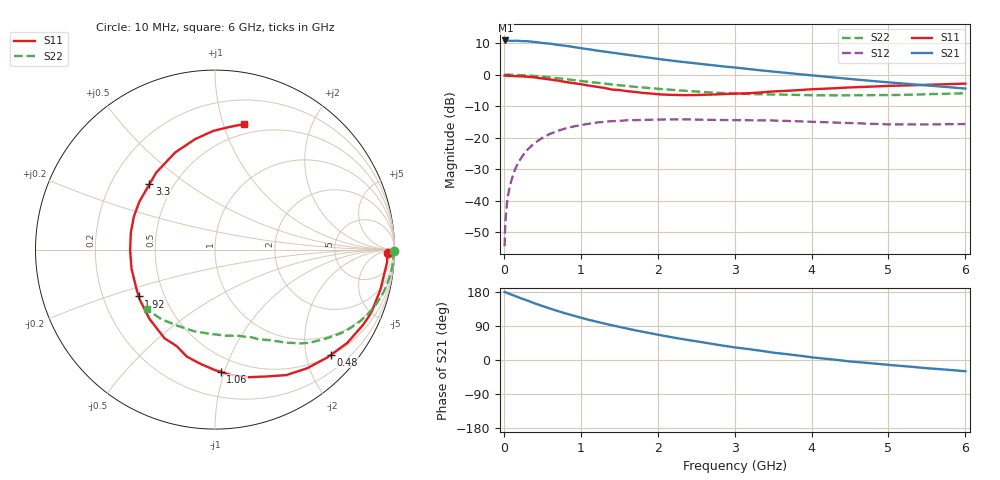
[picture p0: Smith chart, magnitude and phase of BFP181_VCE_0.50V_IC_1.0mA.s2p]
! (c) 2016  Infineon Technologies AG, Munich
! Infineon Technologies  Discrete & RF Semiconductors
! BFP181
! VCE = 0.50V,  IC =  1.0 mA
! Common Emitter S-Parameters:  Jan 2016
# GHz  S  MA  R  50
!  f  S11  S21  S12  S22
! GHz  MAG  ANG  MAG  ANG  MAG  ANG  MAG  ANG
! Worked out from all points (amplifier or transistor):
!   210 points, 10 MHz to 6 GHz, reference 50 ohm
!   highest |S21| = 10.8 dB at 20 MHz (marker M1)
!   |S21| within 3 dB of that: start of sweep to 1.158 GHz
!   unconditionally stable (mu >= 1): 2.64 GHz to end of sweep
!   at 185 MHz: K = 0.09, MSG = 19.4 dB, |S12| = -28.1 dB
!   at 1.52 GHz: K = 0.61, MSG = 10.6 dB, |S12| = -14.6 dB
!   at 6 GHz: K = 1.53, MAG = 1.3 dB, |S12| = -15.7 dB
!   S11 on the Smith chart (normalised r, x): 10 MHz: 42, -21; 480 MHz: 0.51, -2.51; 1.06 GHz: 0.38, -0.97; 1.92 GHz: 0.36, -0.25; 3.3 GHz: 0.37, +0.36; 6 GHz: 0.41, +1.18
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0.01  0.9622 -1.1  3.449 179.5  0.0019 87.5  0.9974 -0.4
0.02  0.9611 -1.7  3.473 179.1  0.0045 85.4  0.9982 -0.9
0.035  0.9608 -3.0  3.464 177.7  0.0078 87.0  0.9966 -1.6
0.06  0.9585 -5.3  3.447 175.4  0.0131 86.5  0.9948 -2.9
0.15  0.9484 -13.5  3.445 168.5  0.0321 80.5  0.9891 -7.0
0.3  0.9256 -26.9  3.382 157.5  0.0627 72.1  0.9699 -13.9
0.4  0.902 -35.2  3.286 149.5  0.0819 66.4  0.9503 -18.3
0.48  0.8728 -42.1  3.187 143.8  0.0954 61.7  0.9315 -21.6
0.6  0.8369 -52.2  3.099 135.7  0.1148 55.7  0.9022 -26.2
0.8  0.7626 -68.0  2.875 123.0  0.1398 46.5  0.8485 -32.9
1.02  0.6963 -84.3  2.595 110.7  0.1596 37.3  0.7854 -39.4
1.06  0.6821 -87.3  2.559 108.4  0.1625 35.9  0.775 -40.4
1.3  0.6162 -104.8  2.321 96.5  0.178 27.7  0.721 -46.2
1.5  0.5685 -119.7  2.159 87.1  0.1845 22.2  0.6757 -50.2
1.92  0.499 -148.5  1.831 69.9  0.1922 12.6  0.6038 -57.3
2.02  0.4864 -155.0  1.759 66.1  0.1936 11.1  0.5921 -58.5
2.46  0.4724 176.8  1.519 50.7  0.1938 3.2  0.5416 -65.8
3.1  0.5018 143.4  1.254 30.9  0.1887 -4.6  0.4953 -75.8
3.3  0.5158 135.1  1.179 25.5  0.1877 -6.2  0.4887 -79.2
4.1  0.5911 109.7  0.947 5.1  0.1769 -12.2  0.4686 -95.3
5.1  0.6659 89.3  0.735 -14.5  0.1619 -14.5  0.4743 -118.2
6  0.7184 76.8  0.6 -29.6  0.1643 -12.7  0.5059 -138.8
